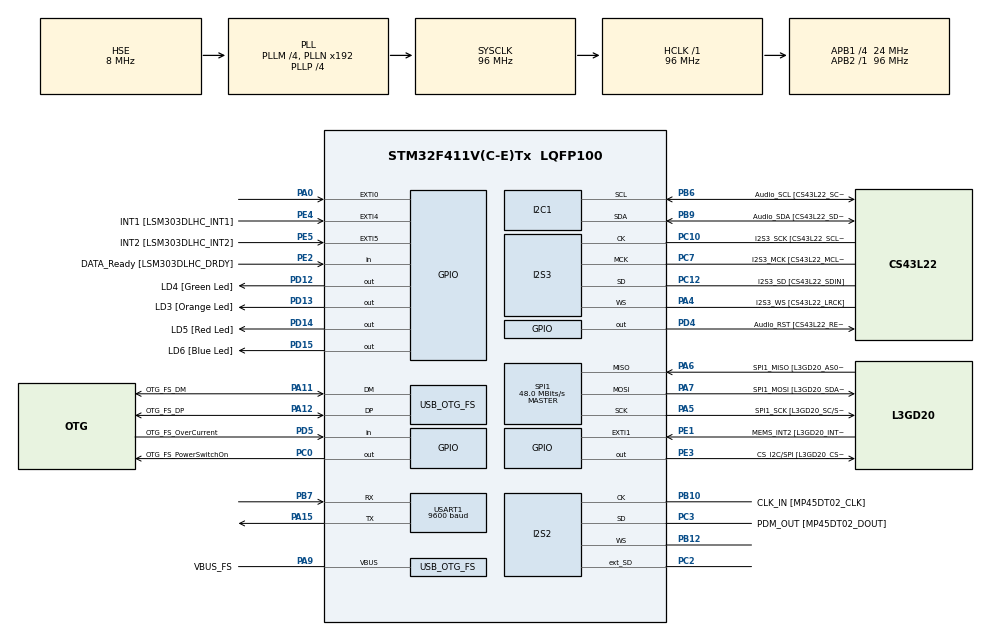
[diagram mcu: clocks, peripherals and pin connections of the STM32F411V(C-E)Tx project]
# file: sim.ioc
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I2S2.AudioFreq=I2S_AUDIOFREQ_96K
I2S2.ErrorAudioFreq=0.15 %
I2S2.FullDuplexMode=I2S_FULLDUPLEXMODE_ENABLE
I2S2.Instance=SPI$Index
I2S2.RealAudioFreq=96.153 KHz
I2S2.VirtualMode=I2S_MODE_MASTER
I2S3.AudioFreq=I2S_AUDIOFREQ_96K
I2S3.ErrorAudioFreq=-6.99 %
I2S3.FullDuplexMode=I2S_FULLDUPLEXMODE_DISABLE
I2S3.Instance=SPI$Index
I2S3.RealAudioFreq=89.285 KHz
I2S3.VirtualMode=I2S_MODE_MASTER
Mcu.Family=STM32F4
Mcu.Name=STM32F411V(C-E)Tx
Mcu.Package=LQFP100
NVIC.OTG_FS_IRQn=true\:0\:0\:false\:false\:true\:true\:true\:true
NVIC.PriorityGroup=NVIC_PRIORITYGROUP_0
PA0-WKUP.GPIO_ModeDefaultEXTI=GPIO_MODE_EVT_RISING
PA0-WKUP.Signal=GPXTI0
PA10.GPIO_Label=OTG_FS_ID
PA10.Signal=USB_OTG_FS_ID
PA11.GPIO_Label=OTG_FS_DM
PA11.Mode=Host_Only
PA11.Signal=USB_OTG_FS_DM
PA12.GPIO_Label=OTG_FS_DP
PA12.Mode=Host_Only
PA12.Signal=USB_OTG_FS_DP
PA13.GPIO_Label=SWDIO
PA13.Mode=Serial_Wire
PA13.Signal=SYS_JTMS-SWDIO
PA14.GPIO_Label=SWCLK
PA14.Mode=Serial_Wire
PA14.Signal=SYS_JTCK-SWCLK
PA15.Mode=Asynchronous
PA15.Signal=USART1_TX
PA4.GPIO_Label=I2S3_WS [CS43L22_LRCK]
PA4.GPIO_Mode=GPIO_MODE_AF_PP
PA4.GPIO_PuPd=GPIO_NOPULL
PA4.GPIO_Speed=GPIO_SPEED_FREQ_LOW
PA4.Mode=Half_Duplex_Master
PA4.Signal=I2S3_WS
PA5.GPIO_Label=SPI1_SCK [L3GD20_SC/SPC]
PA5.Mode=Full_Duplex_Master
PA5.Signal=SPI1_SCK
PA6.GPIO_Label=SPI1_MISO [L3GD20_AS0/SDO]
PA6.Mode=Full_Duplex_Master
PA6.Signal=SPI1_MISO
PA7.GPIO_Label=SPI1_MOSI [L3GD20_SDA/SDI/SDO]
PA7.Mode=Full_Duplex_Master
PA7.Signal=SPI1_MOSI
PA9.GPIO_Label=VBUS_FS
PA9.Mode=Activate_VBUS
PA9.Signal=USB_OTG_FS_VBUS
PB10.GPIO_Label=CLK_IN [MP45DT02_CLK]
PB10.Mode=Full_Duplex_Master
PB10.Signal=I2S2_CK
PB12.Mode=Full_Duplex_Master
PB12.Signal=I2S2_WS
PB3.GPIO_Label=SWO
PB3.Signal=SYS_JTDO-SWO
PB6.GPIO_Label=Audio_SCL [CS43L22_SCL]
PB6.GPIO_Mode=GPIO_MODE_AF_OD
PB6.GPIO_Pu=GPIO_PULLUP
PB6.GPIO_PuPd=GPIO_NOPULL
PB6.GPIO_Speed=GPIO_SPEED_FREQ_LOW
PB6.Mode=I2C
PB6.Signal=I2C1_SCL
PB7.Mode=Asynchronous
PB7.Signal=USART1_RX
PB9.GPIO_Label=Audio_SDA [CS43L22_SDA]
PB9.GPIO_Mode=GPIO_MODE_AF_OD
PB9.GPIO_Pu=GPIO_PULLUP
PB9.GPIO_PuPd=GPIO_NOPULL
PB9.GPIO_Speed=GPIO_SPEED_FREQ_LOW
PB9.Mode=I2C
PB9.Signal=I2C1_SDA
PC0.GPIO_Label=OTG_FS_PowerSwitchOn
PC0.PinState=GPIO_PIN_SET
PC0.Signal=GPIO_Output
PC10.GPIO_Label=I2S3_SCK [CS43L22_SCLK]
PC10.GPIO_Mode=GPIO_MODE_AF_PP
PC10.GPIO_PuPd=GPIO_NOPULL
PC10.GPIO_Speed=GPIO_SPEED_FREQ_LOW
PC10.Mode=Half_Duplex_Master
PC10.Signal=I2S3_CK
PC12.GPIO_Label=I2S3_SD [CS43L22_SDIN]
PC12.GPIO_Mode=GPIO_MODE_AF_PP
PC12.GPIO_PuPd=GPIO_NOPULL
PC12.GPIO_Speed=GPIO_SPEED_FREQ_LOW
PC12.Mode=Half_Duplex_Master
PC12.Signal=I2S3_SD
PC14-OSC32_IN.GPIO_Label=PC14-OSC32_IN
PC14-OSC32_IN.Mode=LSE-External-Oscillator
PC14-OSC32_IN.Signal=RCC_OSC32_IN
PC15-OSC32_OUT.GPIO_Label=PC15-OSC32_OUT
PC15-OSC32_OUT.Mode=LSE-External-Oscillator
PC15-OSC32_OUT.Signal=RCC_OSC32_OUT
PC2.Mode=Full_Duplex_Master
PC2.Signal=I2S2_ext_SD
PC3.GPIO_Label=PDM_OUT [MP45DT02_DOUT]
PC3.Mode=Full_Duplex_Master
PC3.Signal=I2S2_SD
PC7.GPIO_Label=I2S3_MCK [CS43L22_MCLK]
PC7.GPIO_Mode=GPIO_MODE_AF_PP
PC7.GPIO_PuPd=GPIO_NOPULL
PC7.GPIO_Speed=GPIO_SPEED_FREQ_LOW
PC7.Mode=Master_Clock_Activated
PC7.Signal=I2S3_MCK
PD12.GPIO_Label=LD4 [Green Led]
PD12.GPIO_PuPd=GPIO_NOPULL
PD12.GPIO_Speed=GPIO_SPEED_FREQ_LOW
PD12.Signal=GPIO_Output
PD13.GPIO_Label=LD3 [Orange Led]
PD13.GPIO_PuPd=GPIO_NOPULL
PD13.GPIO_Speed=GPIO_SPEED_FREQ_LOW
PD13.Signal=GPIO_Output
PD14.GPIO_Label=LD5 [Red Led]
PD14.GPIO_PuPd=GPIO_NOPULL
PD14.GPIO_Speed=GPIO_SPEED_FREQ_LOW
PD14.Signal=GPIO_Output
PD15.GPIO_Label=LD6 [Blue Led]
PD15.GPIO_PuPd=GPIO_NOPULL
PD15.GPIO_Speed=GPIO_SPEED_FREQ_LOW
PD15.Signal=GPIO_Output
PD4.GPIO_Label=Audio_RST [CS43L22_RESET]
PD4.Signal=GPIO_Output
PD5.GPIO_Label=OTG_FS_OverCurrent
PD5.Signal=GPIO_Input
PE1.GPIO_Label=MEMS_INT2 [L3GD20_INT2]
PE1.GPIO_ModeDefaultEXTI=GPIO_MODE_EVT_RISING
PE1.Signal=GPXTI1
PE2.GPIO_Label=DATA_Ready [LSM303DLHC_DRDY]
PE2.Signal=GPIO_Input
PE3.GPIO_Label=CS_I2C/SPI [L3GD20_CS_I2C/SPI]
PE3.Signal=GPIO_Output
PE4.GPIO_Label=INT1 [LSM303DLHC_INT1]
PE4.GPIO_ModeDefaultEXTI=GPIO_MODE_EVT_RISING
PE4.Signal=GPXTI4
PE5.GPIO_Label=INT2 [LSM303DLHC_INT2]
PE5.GPIO_ModeDefaultEXTI=GPIO_MODE_EVT_RISING
PE5.Signal=GPXTI5
PH0\ -\ OSC_IN.GPIO_Label=PH0-OSC_IN
PH0\ -\ OSC_IN.Mode=HSE-External-Oscillator
PH0\ -\ OSC_IN.Signal=RCC_OSC_IN
PH1\ -\ OSC_OUT.GPIO_Label=PH1-OSC_OUT
PH1\ -\ OSC_OUT.Mode=HSE-External-Oscillator
PH1\ -\ OSC_OUT.Signal=RCC_OSC_OUT
ProjectManager.HeapSize=0x200
ProjectManager.StackSize=0x400
ProjectManager.TargetToolchain=STM32CubeIDE
RCC.48MHZClocksFreq_Value=48000000
RCC.AHBFreq_Value=96000000
RCC.APB1CLKDivider=RCC_HCLK_DIV4
RCC.APB1Freq_Value=24000000
RCC.APB1TimFreq_Value=48000000
RCC.APB2Freq_Value=96000000
RCC.APB2TimFreq_Value=96000000
RCC.CortexFreq_Value=96000000
RCC.HCLKFreq_Value=96000000
RCC.HSE_VALUE=8000000
RCC.HSI_VALUE=16000000
RCC.PLLI2SM=5
RCC.PLLI2SN=200
RCC.PLLM=4
RCC.PLLP=RCC_PLLP_DIV4
RCC.PLLQ=8
RCC.SYSCLKFreq_VALUE=96000000
RCC.SYSCLKSource=RCC_SYSCLKSOURCE_PLLCLK
RCC.VCOOutputFreq_Value=384000000
SPI1.BaudRatePrescaler=SPI_BAUDRATEPRESCALER_2
SPI1.CalculateBaudRate=48.0 MBits/s
SPI1.Direction=SPI_DIRECTION_2LINES
SPI1.Mode=SPI_MODE_MASTER
SPI1.VirtualType=VM_MASTER
USART1.BaudRate=9600
USART1.VirtualMode=VM_ASYNC
USB_HOST.BSP.number=1
USB_HOST.USBH_HandleTypeDef=hUsbHostFS
USB_HOST.VirtualModeFS=Cdc
USB_HOST0.BSP.STBoard=false
USB_HOST0.BSP.api=Unknown
USB_HOST0.BSP.instance=PC0
USB_HOST0.BSP.ip=GPIO
USB_HOST0.BSP.mode=Output
USB_HOST0.BSP.name=Drive_VBUS_FS
USB_HOST0.BSP.solution=PC0
USB_OTG_FS.VirtualMode=Host_Only
USB_OTG_FS.phy_itface=HCD_PHY_EMBEDDED
VP_USB_HOST_VS_USB_HOST_CDC_FS.Mode=CDC_FS
board=STM32F411E-DISCO

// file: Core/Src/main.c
/* USER CODE BEGIN Header */
/**
  ******************************************************************************
  * @file           : main.c
  * @brief          : Main program body
  ******************************************************************************
  * @attention
  *
  * Copyright (c) 2023 STMicroelectronics.
  * All rights reserved.
  *
  * This software is licensed under terms that can be found in the LICENSE file
  * in the root directory of this software component.
  * If no LICENSE file comes with this software, it is provided AS-IS.
  *
  ******************************************************************************
  */
/* USER CODE END Header */
#include "main.h"
#include "usb_host.h"
#include "string.h"
#include <stdio.h>

I2C_HandleTypeDef hi2c1;

I2S_HandleTypeDef hi2s2;
I2S_HandleTypeDef hi2s3;

SPI_HandleTypeDef hspi1;

UART_HandleTypeDef huart1;

void SystemClock_Config(void);
void PeriphCommonClock_Config(void);
static void MX_GPIO_Init(void);
static void MX_I2C1_Init(void);
static void MX_I2S2_Init(void);
static void MX_I2S3_Init(void);
static void MX_SPI1_Init(void);
static void MX_USART1_UART_Init(void);
void MX_USB_HOST_Process(void);

int main(void)
{

  /* MCU Configuration--------------------------------------------------------*/

  /* Reset of all peripherals, Initializes the Flash interface and the Systick. */
  HAL_Init();

  /* Configure the system clock */
  SystemClock_Config();

/* Configure the peripherals common clocks */
  PeriphCommonClock_Config();

  /* Initialize all configured peripherals */
  MX_GPIO_Init();
  MX_I2C1_Init();
  MX_I2S2_Init();
  MX_I2S3_Init();
  MX_SPI1_Init();
  MX_USB_HOST_Init();
  MX_USART1_UART_Init();
  /* USER CODE BEGIN 2 */
  char Test[] = "AT";
  char Reply[] = "";
  HAL_UART_Transmit(&huart1,(uint8_t *)Test,strlen(Test),40);
  HAL_UART_Transmit(&huart1,(uint8_t *)Reply,5,40);
  for (int i = 0; i < strlen(Reply); ++i){
	  printf("%c ", Reply[i]);
  }

  if (strcmp(Reply,"OK") == 0){
	  while (1){
		  HAL_GPIO_WritePin(GPIOD, GPIO_PIN_12, GPIO_PIN_SET);   // green
		  HAL_Delay(1000);
		  HAL_GPIO_WritePin(GPIOD, GPIO_PIN_12, GPIO_PIN_RESET);
		  HAL_Delay(1000);
	  }
  }
  else{
	  while (1){
		HAL_GPIO_WritePin(GPIOD, GPIO_PIN_14, GPIO_PIN_SET);    // red
		HAL_Delay(1000);
		HAL_GPIO_WritePin(GPIOD, GPIO_PIN_14, GPIO_PIN_RESET);
		HAL_Delay(1000);
	  }
  }
  /* USER CODE END 2 */

  /* Infinite loop */
  while (1)
  {
    MX_USB_HOST_Process();

  }
}

void SystemClock_Config(void)
{
  RCC_OscInitTypeDef RCC_OscInitStruct = {0};
  RCC_ClkInitTypeDef RCC_ClkInitStruct = {0};

  /** Configure the main internal regulator output voltage
  */
  __HAL_RCC_PWR_CLK_ENABLE();
  __HAL_PWR_VOLTAGESCALING_CONFIG(PWR_REGULATOR_VOLTAGE_SCALE1);

  /** Initializes the RCC Oscillators according to the specified parameters
  * in the RCC_OscInitTypeDef structure.
  */
  RCC_OscInitStruct.OscillatorType = RCC_OSCILLATORTYPE_HSE;
  RCC_OscInitStruct.HSEState = RCC_HSE_ON;
  RCC_OscInitStruct.PLL.PLLState = RCC_PLL_ON;
  RCC_OscInitStruct.PLL.PLLSource = RCC_PLLSOURCE_HSE;
  RCC_OscInitStruct.PLL.PLLM = 4;
  RCC_OscInitStruct.PLL.PLLN = 192;
  RCC_OscInitStruct.PLL.PLLP = RCC_PLLP_DIV4;
  RCC_OscInitStruct.PLL.PLLQ = 8;
  if (HAL_RCC_OscConfig(&RCC_OscInitStruct) != HAL_OK)
  {
    Error_Handler();
  }

  /** Initializes the CPU, AHB and APB buses clocks
  */
  RCC_ClkInitStruct.ClockType = RCC_CLOCKTYPE_HCLK|RCC_CLOCKTYPE_SYSCLK
                              |RCC_CLOCKTYPE_PCLK1|RCC_CLOCKTYPE_PCLK2;
  RCC_ClkInitStruct.SYSCLKSource = RCC_SYSCLKSOURCE_PLLCLK;
  RCC_ClkInitStruct.AHBCLKDivider = RCC_SYSCLK_DIV1;
  RCC_ClkInitStruct.APB1CLKDivider = RCC_HCLK_DIV4;
  RCC_ClkInitStruct.APB2CLKDivider = RCC_HCLK_DIV1;

  if (HAL_RCC_ClockConfig(&RCC_ClkInitStruct, FLASH_LATENCY_3) != HAL_OK)
  {
    Error_Handler();
  }
}

void PeriphCommonClock_Config(void)
{
  RCC_PeriphCLKInitTypeDef PeriphClkInitStruct = {0};

  /** Initializes the peripherals clock
  */
  PeriphClkInitStruct.PeriphClockSelection = RCC_PERIPHCLK_I2S;
  PeriphClkInitStruct.PLLI2S.PLLI2SN = 200;
  PeriphClkInitStruct.PLLI2S.PLLI2SM = 5;
  PeriphClkInitStruct.PLLI2S.PLLI2SR = 2;
  if (HAL_RCCEx_PeriphCLKConfig(&PeriphClkInitStruct) != HAL_OK)
  {
    Error_Handler();
  }
}

static void MX_I2C1_Init(void)
{

  hi2c1.Instance = I2C1;
  hi2c1.Init.ClockSpeed = 100000;
  hi2c1.Init.DutyCycle = I2C_DUTYCYCLE_2;
  hi2c1.Init.OwnAddress1 = 0;
  hi2c1.Init.AddressingMode = I2C_ADDRESSINGMODE_7BIT;
  hi2c1.Init.DualAddressMode = I2C_DUALADDRESS_DISABLE;
  hi2c1.Init.OwnAddress2 = 0;
  hi2c1.Init.GeneralCallMode = I2C_GENERALCALL_DISABLE;
  hi2c1.Init.NoStretchMode = I2C_NOSTRETCH_DISABLE;
  if (HAL_I2C_Init(&hi2c1) != HAL_OK)
  {
    Error_Handler();
  }

}

static void MX_I2S2_Init(void)
{

  hi2s2.Instance = SPI2;
  hi2s2.Init.Mode = I2S_MODE_MASTER_TX;
  hi2s2.Init.Standard = I2S_STANDARD_PHILIPS;
  hi2s2.Init.DataFormat = I2S_DATAFORMAT_16B;
  hi2s2.Init.MCLKOutput = I2S_MCLKOUTPUT_DISABLE;
  hi2s2.Init.AudioFreq = I2S_AUDIOFREQ_96K;
  hi2s2.Init.CPOL = I2S_CPOL_LOW;
  hi2s2.Init.ClockSource = I2S_CLOCK_PLL;
  hi2s2.Init.FullDuplexMode = I2S_FULLDUPLEXMODE_ENABLE;
  if (HAL_I2S_Init(&hi2s2) != HAL_OK)
  {
    Error_Handler();
  }

}

static void MX_I2S3_Init(void)
{

  hi2s3.Instance = SPI3;
  hi2s3.Init.Mode = I2S_MODE_MASTER_TX;
  hi2s3.Init.Standard = I2S_STANDARD_PHILIPS;
  hi2s3.Init.DataFormat = I2S_DATAFORMAT_16B;
  hi2s3.Init.MCLKOutput = I2S_MCLKOUTPUT_ENABLE;
  hi2s3.Init.AudioFreq = I2S_AUDIOFREQ_96K;
  hi2s3.Init.CPOL = I2S_CPOL_LOW;
  hi2s3.Init.ClockSource = I2S_CLOCK_PLL;
  hi2s3.Init.FullDuplexMode = I2S_FULLDUPLEXMODE_DISABLE;
  if (HAL_I2S_Init(&hi2s3) != HAL_OK)
  {
    Error_Handler();
  }

}

static void MX_SPI1_Init(void)
{

  /* SPI1 parameter configuration*/
  hspi1.Instance = SPI1;
  hspi1.Init.Mode = SPI_MODE_MASTER;
  hspi1.Init.Direction = SPI_DIRECTION_2LINES;
  hspi1.Init.DataSize = SPI_DATASIZE_8BIT;
  hspi1.Init.CLKPolarity = SPI_POLARITY_LOW;
  hspi1.Init.CLKPhase = SPI_PHASE_1EDGE;
  hspi1.Init.NSS = SPI_NSS_SOFT;
  hspi1.Init.BaudRatePrescaler = SPI_BAUDRATEPRESCALER_2;
  hspi1.Init.FirstBit = SPI_FIRSTBIT_MSB;
  hspi1.Init.TIMode = SPI_TIMODE_DISABLE;
  hspi1.Init.CRCCalculation = SPI_CRCCALCULATION_DISABLE;
  hspi1.Init.CRCPolynomial = 10;
  if (HAL_SPI_Init(&hspi1) != HAL_OK)
  {
    Error_Handler();
  }

}

static void MX_USART1_UART_Init(void)
{

  huart1.Instance = USART1;
  huart1.Init.BaudRate = 9600;
  huart1.Init.WordLength = UART_WORDLENGTH_8B;
  huart1.Init.StopBits = UART_STOPBITS_1;
  huart1.Init.Parity = UART_PARITY_NONE;
  huart1.Init.Mode = UART_MODE_TX_RX;
  huart1.Init.HwFlowCtl = UART_HWCONTROL_NONE;
  huart1.Init.OverSampling = UART_OVERSAMPLING_16;
  if (HAL_UART_Init(&huart1) != HAL_OK)
  {
    Error_Handler();
  }

}

static void MX_GPIO_Init(void)
{
  GPIO_InitTypeDef GPIO_InitStruct = {0};

  /* GPIO Ports Clock Enable */
  __HAL_RCC_GPIOE_CLK_ENABLE();
  __HAL_RCC_GPIOC_CLK_ENABLE();
  __HAL_RCC_GPIOH_CLK_ENABLE();
  __HAL_RCC_GPIOA_CLK_ENABLE();
  __HAL_RCC_GPIOB_CLK_ENABLE();
  __HAL_RCC_GPIOD_CLK_ENABLE();

  /*Configure GPIO pin Output Level */
  HAL_GPIO_WritePin(CS_I2C_SPI_GPIO_Port, CS_I2C_SPI_Pin, GPIO_PIN_RESET);

  /*Configure GPIO pin Output Level */
  HAL_GPIO_WritePin(OTG_FS_PowerSwitchOn_GPIO_Port, OTG_FS_PowerSwitchOn_Pin, GPIO_PIN_SET);

  /*Configure GPIO pin Output Level */
  HAL_GPIO_WritePin(GPIOD, LD4_Pin|LD3_Pin|LD5_Pin|LD6_Pin
                          |Audio_RST_Pin, GPIO_PIN_RESET);

  /*Configure GPIO pin : DATA_Ready_Pin */
  GPIO_InitStruct.Pin = DATA_Ready_Pin;
  GPIO_InitStruct.Mode = GPIO_MODE_INPUT;
  GPIO_InitStruct.Pull = GPIO_NOPULL;
  HAL_GPIO_Init(DATA_Ready_GPIO_Port, &GPIO_InitStruct);

  /*Configure GPIO pin : CS_I2C_SPI_Pin */
  GPIO_InitStruct.Pin = CS_I2C_SPI_Pin;
  GPIO_InitStruct.Mode = GPIO_MODE_OUTPUT_PP;
  GPIO_InitStruct.Pull = GPIO_NOPULL;
  GPIO_InitStruct.Speed = GPIO_SPEED_FREQ_LOW;
  HAL_GPIO_Init(CS_I2C_SPI_GPIO_Port, &GPIO_InitStruct);

  /*Configure GPIO pins : INT1_Pin INT2_Pin MEMS_INT2_Pin */
  GPIO_InitStruct.Pin = INT1_Pin|INT2_Pin|MEMS_INT2_Pin;
  GPIO_InitStruct.Mode = GPIO_MODE_EVT_RISING;
  GPIO_InitStruct.Pull = GPIO_NOPULL;
  HAL_GPIO_Init(GPIOE, &GPIO_InitStruct);

  /*Configure GPIO pin : OTG_FS_PowerSwitchOn_Pin */
  GPIO_InitStruct.Pin = OTG_FS_PowerSwitchOn_Pin;
  GPIO_InitStruct.Mode = GPIO_MODE_OUTPUT_PP;
  GPIO_InitStruct.Pull = GPIO_NOPULL;
  GPIO_InitStruct.Speed = GPIO_SPEED_FREQ_LOW;
  HAL_GPIO_Init(OTG_FS_PowerSwitchOn_GPIO_Port, &GPIO_InitStruct);

  /*Configure GPIO pin : PA0 */
  GPIO_InitStruct.Pin = GPIO_PIN_0;
  GPIO_InitStruct.Mode = GPIO_MODE_EVT_RISING;
  GPIO_InitStruct.Pull = GPIO_NOPULL;
  HAL_GPIO_Init(GPIOA, &GPIO_InitStruct);

  /*Configure GPIO pins : LD4_Pin LD3_Pin LD5_Pin LD6_Pin
                           Audio_RST_Pin */
  GPIO_InitStruct.Pin = LD4_Pin|LD3_Pin|LD5_Pin|LD6_Pin
                          |Audio_RST_Pin;
  GPIO_InitStruct.Mode = GPIO_MODE_OUTPUT_PP;
  GPIO_InitStruct.Pull = GPIO_NOPULL;
  GPIO_InitStruct.Speed = GPIO_SPEED_FREQ_LOW;
  HAL_GPIO_Init(GPIOD, &GPIO_InitStruct);

  /*Configure GPIO pin : OTG_FS_OverCurrent_Pin */
  GPIO_InitStruct.Pin = OTG_FS_OverCurrent_Pin;
  GPIO_InitStruct.Mode = GPIO_MODE_INPUT;
  GPIO_InitStruct.Pull = GPIO_NOPULL;
  HAL_GPIO_Init(OTG_FS_OverCurrent_GPIO_Port, &GPIO_InitStruct);

}

void Error_Handler(void)
{
  __disable_irq();
  while (1)
  {
  }
}
